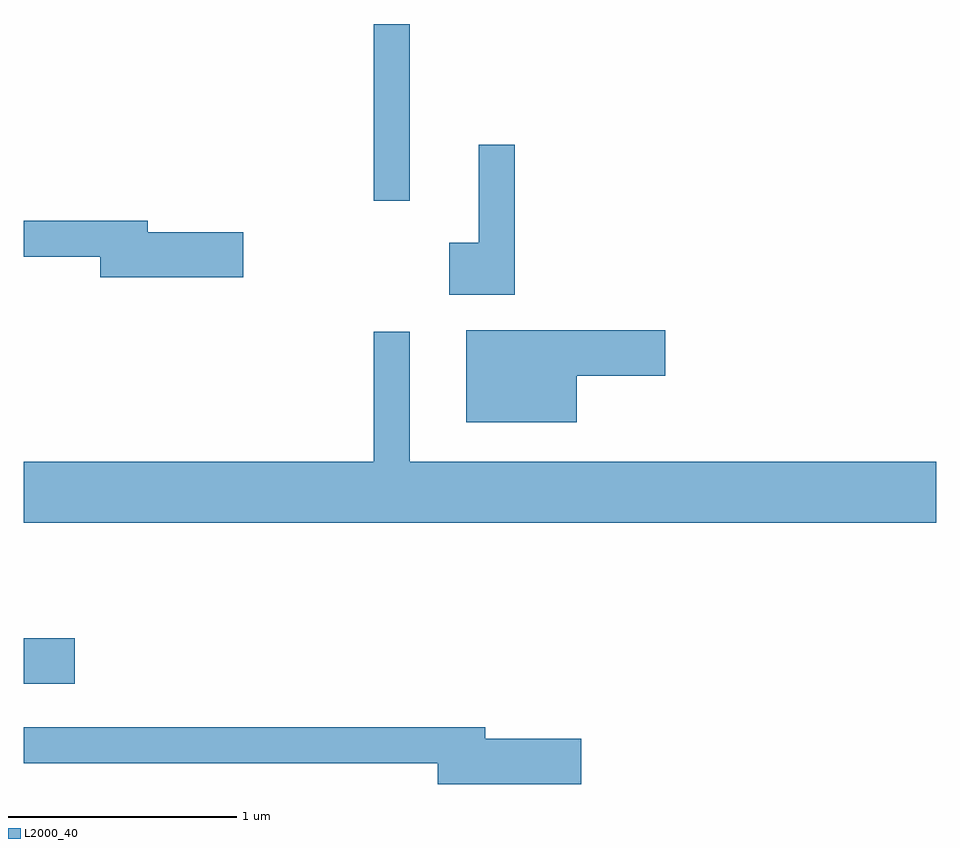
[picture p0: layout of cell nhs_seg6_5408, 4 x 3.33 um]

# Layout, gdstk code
import gdstk
lib = gdstk.Library(unit=1e-6, precision=1e-09)
def R(c, l, rs):  # rectangles x0, y0, x1, y1
    for r in rs: c.add(gdstk.rectangle(r[:2], r[2:], *l))
def P(c, l, *ps):  # polygons
    for p in ps: c.add(gdstk.Polygon(p, *l))
L2000_40 = (2000, 40)

nhs_seg6_5408 = lib.new_cell('nhs_seg6_5408')
R(nhs_seg6_5408, L2000_40, [(349.611,1609.271,349.834,1609.469), (351.146,1611.388,351.304,1612.162)])
P(nhs_seg6_5408, L2000_40, [(351.764,1611.633),(351.606,1611.633),(351.606,1611.204),(351.476,1611.204),(351.476,1610.976),(351.764,1610.976)],
  [(350.574,1611.249),(350.154,1611.249),(350.154,1611.299),(349.611,1611.299),(349.611,1611.141),(349.946,1611.141),(349.946,1611.051),(350.574,1611.051)],
  [(352.034,1610.621),(352.424,1610.621),(352.424,1610.819),(351.551,1610.819),(351.551,1610.416),(352.034,1610.416)],
  [(353.611,1610.244),(351.304,1610.244),(351.304,1610.813),(351.146,1610.813),(351.146,1610.244),(349.611,1610.244),(349.611,1609.976),(353.611,1609.976)],
  [(352.054,1609.029),(351.634,1609.029),(351.634,1609.079),(349.611,1609.079),(349.611,1608.921),(351.426,1608.921),(351.426,1608.831),(352.054,1608.831)])

lib.write_gds('nhs_seg6_5408.gds')
